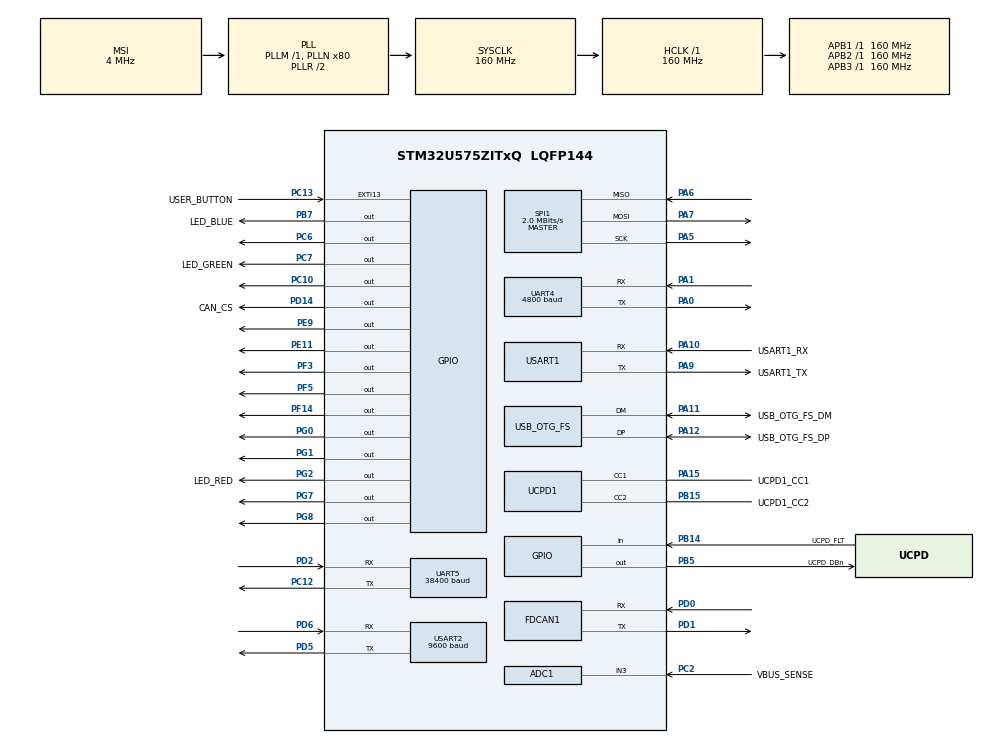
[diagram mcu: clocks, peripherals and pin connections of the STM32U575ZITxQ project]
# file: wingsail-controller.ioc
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ADC1.NbrOfConversion=1
ADC1.Resolution=ADC_RESOLUTION_14B
ADC1.master=1
CORTEX_M33_NS.userName=CORTEX_M33
FDCAN1.AutoRetransmission=ENABLE
FDCAN1.CalculateBaudRateNominal=500000
FDCAN1.CalculateTimeBitNominal=2000
FDCAN1.CalculateTimeQuantumNominal=100.0
FDCAN1.ClockDivider=FDCAN_CLOCK_DIV4
FDCAN1.DataSyncJumpWidth=16
FDCAN1.DataTimeSeg1=23
FDCAN1.DataTimeSeg2=16
FDCAN1.ExtFiltersNbr=1
FDCAN1.FrameFormat=FDCAN_FRAME_FD_BRS
FDCAN1.Mode=FDCAN_MODE_NORMAL
FDCAN1.NominalPrescaler=4
FDCAN1.NominalSyncJumpWidth=3
FDCAN1.NominalTimeSeg1=16
FDCAN1.NominalTimeSeg2=3
FDCAN1.StdFiltersNbr=1
GPDMA1.DESTINC_GPDMACH13=DMA_DINC_INCREMENTED
GPDMA1.DESTINC_GPDMACH14=DMA_DINC_INCREMENTED
GPDMA1.DESTINC_GPDMACH15=DMA_DINC_INCREMENTED
GPDMA1.IPHANDLE_GPDMACH13-SIMPLEREQUEST_GPDMACH13=__NULL
GPDMA1.IPHANDLE_GPDMACH14-SIMPLEREQUEST_GPDMACH14=__NULL
GPDMA1.IPHANDLE_GPDMACH15-SIMPLEREQUEST_GPDMACH15=__NULL
GPDMA1.RECAP_GPDMACH14=GPDMA1_REQUEST_UART5_RX
GPDMA1.RECAP_GPDMACH15=GPDMA1_REQUEST_USART2_RX
GPDMA1.REQUEST_GPDMACH13=GPDMA1_REQUEST_UART4_RX
GPDMA1.REQUEST_GPDMACH14=GPDMA1_REQUEST_UART5_RX
GPDMA1.REQUEST_GPDMACH15=GPDMA1_REQUEST_USART2_RX
Mcu.Family=STM32U5
Mcu.Name=STM32U575ZITxQ
Mcu.Package=LQFP144
NVIC.FDCAN1_IT0_IRQn=true\:0\:0\:false\:false\:true\:true\:true\:true
NVIC.GPDMA1_Channel13_IRQn=true\:0\:0\:false\:false\:true\:false\:true\:true
NVIC.GPDMA1_Channel14_IRQn=true\:0\:0\:false\:false\:true\:false\:true\:true
NVIC.GPDMA1_Channel15_IRQn=true\:0\:0\:false\:false\:true\:false\:true\:true
NVIC.OTG_FS_IRQn=true\:0\:0\:false\:false\:true\:true\:true\:true
NVIC.PriorityGroup=NVIC_PRIORITYGROUP_3
NVIC.TIM7_IRQn=true\:0\:0\:false\:false\:true\:true\:true\:true
NVIC.UART4_IRQn=true\:0\:0\:false\:false\:true\:true\:true\:true
NVIC.UART5_IRQn=true\:0\:0\:false\:false\:true\:true\:true\:true
NVIC.USART2_IRQn=true\:0\:0\:false\:false\:true\:true\:true\:true
PA0.Mode=Asynchronous
PA0.Signal=UART4_TX
PA1.Mode=Asynchronous
PA1.Signal=UART4_RX
PA10.GPIO_Label=USART1_RX
PA10.GPIO_PuPd=GPIO_PULLDOWN
PA10.GPIO_Speed=GPIO_SPEED_FREQ_VERY_HIGH
PA10.Mode=Asynchronous
PA10.Signal=USART1_RX
PA11.GPIO_Label=USB_OTG_FS_DM
PA11.GPIO_Speed=GPIO_SPEED_FREQ_VERY_HIGH
PA11.Mode=Device_Only
PA11.Signal=USB_OTG_FS_DM
PA12.GPIO_Label=USB_OTG_FS_DP
PA12.GPIO_Speed=GPIO_SPEED_FREQ_VERY_HIGH
PA12.Mode=Device_Only
PA12.Signal=USB_OTG_FS_DP
PA13\ (JTMS/SWDIO).Mode=Trace_Asynchronous_SW
PA13\ (JTMS/SWDIO).Signal=DEBUG_JTMS-SWDIO
PA14\ (JTCK/SWCLK).Mode=Trace_Asynchronous_SW
PA14\ (JTCK/SWCLK).Signal=DEBUG_JTCK-SWCLK
PA15\ (JTDI).GPIO_Label=UCPD1_CC1
PA15\ (JTDI).Mode=Sink_AllSignals
PA15\ (JTDI).Signal=UCPD1_CC1
PA5.Mode=Full_Duplex_Master
PA5.Signal=SPI1_SCK
PA6.Mode=Full_Duplex_Master
PA6.Signal=SPI1_MISO
PA7.Mode=Full_Duplex_Master
PA7.Signal=SPI1_MOSI
PA9.GPIO_Label=USART1_TX
PA9.GPIO_PuPd=GPIO_PULLDOWN
PA9.GPIO_Speed=GPIO_SPEED_FREQ_VERY_HIGH
PA9.Mode=Asynchronous
PA9.Signal=USART1_TX
PB14.GPIO_Label=UCPD_FLT
PB14.Signal=GPIO_Input
PB15.GPIO_Label=UCPD1_CC2
PB15.Mode=Sink_AllSignals
PB15.Signal=UCPD1_CC2
PB3\ (JTDO/TRACESWO).Mode=Trace_Asynchronous_SW
PB3\ (JTDO/TRACESWO).Signal=DEBUG_JTDO-SWO
PB5.GPIO_Label=UCPD_DBn
PB5.Signal=GPIO_Output
PB7.GPIO_Label=LED_BLUE
PB7.GPIO_ModeDefaultOutputPP=GPIO_MODE_OUTPUT_PP
PB7.GPIO_PuPd=GPIO_PULLUP
PB7.GPIO_Speed=GPIO_SPEED_FREQ_HIGH
PB7.Signal=GPIO_Output
PC10.Signal=GPIO_Output
PC12.Mode=Asynchronous
PC12.Signal=UART5_TX
PC13.GPIO_Label=USER_BUTTON
PC13.GPIO_ModeDefaultEXTI=GPIO_MODE_IT_FALLING
PC13.Signal=GPXTI13
PC14-OSC32_IN\ (PC14).Mode=LSE-External-Oscillator
PC14-OSC32_IN\ (PC14).Signal=RCC_OSC32_IN
PC15-OSC32_OUT\ (PC15).Mode=LSE-External-Oscillator
PC15-OSC32_OUT\ (PC15).Signal=RCC_OSC32_OUT
PC2.GPIO_Label=VBUS_SENSE
PC2.Mode=IN3-Single-Ended
PC2.Signal=ADC1_IN3
PC6.Signal=GPIO_Output
PC7.GPIO_Label=LED_GREEN
PC7.GPIO_PuPd=GPIO_PULLUP
PC7.GPIO_Speed=GPIO_SPEED_FREQ_HIGH
PC7.Signal=GPIO_Output
PD0.Mode=FDCAN_Activate
PD0.Signal=FDCAN1_RX
PD1.Mode=FDCAN_Activate
PD1.Signal=FDCAN1_TX
PD14.GPIO_Label=CAN_CS
PD14.Signal=GPIO_Output
PD2.Mode=Asynchronous
PD2.Signal=UART5_RX
PD5.Mode=Asynchronous
PD5.Signal=USART2_TX
PD6.Mode=Asynchronous
PD6.Signal=USART2_RX
PE11.Signal=GPIO_Output
PE9.Signal=GPIO_Output
PF14.Signal=GPIO_Output
PF3.Signal=GPIO_Output
PF5.Signal=GPIO_Output
PG0.Signal=GPIO_Output
PG1.Signal=GPIO_Output
PG2.GPIO_Label=LED_RED
PG2.GPIO_ModeDefaultOutputPP=GPIO_MODE_OUTPUT_PP
PG2.GPIO_PuPd=GPIO_PULLUP
PG2.GPIO_Speed=GPIO_SPEED_FREQ_HIGH
PG2.Signal=GPIO_Output
PG7.Signal=GPIO_Output
PG8.Signal=GPIO_Output
PWR.PowerMode=PWR_SMPS_SUPPLY
ProjectManager.HeapSize=0x200
ProjectManager.StackSize=0x400
ProjectManager.TargetToolchain=STM32CubeIDE
RCC.ADCFreq_Value=16000000
RCC.AHBFreq_Value=160000000
RCC.APB1Freq_Value=160000000
RCC.APB1TimFreq_Value=160000000
RCC.APB2Freq_Value=160000000
RCC.APB2TimFreq_Value=160000000
RCC.APB3Freq_Value=160000000
RCC.CortexFreq_Value=160000000
RCC.DACCLockSelectionVirtual=RCC_DAC1CLKSOURCE_LSI
RCC.EPOD_VALUE=4000000
RCC.HCLKFreq_Value=160000000
RCC.HSE_VALUE=16000000
RCC.HSI48_VALUE=48000000
RCC.HSI_VALUE=16000000
RCC.LPUART1CLockSelectionVirtual=RCC_LPUART1CLKSOURCE_HSI
RCC.LSIDIV_VALUE=32000
RCC.MSI_VALUE=4000000
RCC.PLLN=80
RCC.SPI1CLockSelection=RCC_SPI1CLKSOURCE_MSIK
RCC.SYSCLKFreq_VALUE=160000000
RCC.SYSCLKSource=RCC_SYSCLKSOURCE_PLLCLK
RCC.USBFreq_Value=48000000
RCC.VCOOutputFreq_Value=320000000
SPI1.CalculateBaudRate=2.0 MBits/s
SPI1.DataSize=SPI_DATASIZE_8BIT
SPI1.Direction=SPI_DIRECTION_2LINES
SPI1.Mode=SPI_MODE_MASTER
SPI1.VirtualType=VM_MASTER
TIM7.AutoReloadPreload=TIM_AUTORELOAD_PRELOAD_ENABLE
TIM7.PeriodNoDither=49999
TIM7.Prescaler=31999
UART4.BaudRate=4800
UART5.BaudRate=38400
UART5.SwapParam=UART_ADVFEATURE_SWAP_DISABLE
UART5.VirtualMode-Asynchronous=VM_ASYNC
USART1.VirtualMode-Asynchronous=VM_ASYNC
USART2.BaudRate=9600
USART2.SwapParam=ADVFEATURE_SWAP_DISABLE
USART2.VirtualMode-Asynchronous=VM_ASYNC
USB_OTG_FS.VirtualMode=Device_Only
VP_GPDMA1_VS_GPDMACH13.Mode=SIMPLEREQUEST_GPDMACH13
VP_GPDMA1_VS_GPDMACH14.Mode=SIMPLEREQUEST_GPDMACH14
VP_GPDMA1_VS_GPDMACH15.Mode=SIMPLEREQUEST_GPDMACH15
VP_ICACHE_VS_ENABLE_ICACHE_MEMORY.Mode=Memoryregions
VP_ICACHE_VS_ICACHE.Mode=DirectMappedCache
VP_LPBAMQUEUE_VS_QUEUE.Mode=QUEUEMODE
VP_LPBAM_VS_SIG1.Mode=SmartRun
VP_LPBAM_VS_SIG4.Mode=LPDMA1
VP_MEMORYMAP_VS_MEMORYMAP.Mode=CurAppReg
VP_PWR_VS_DBSignals.Mode=DisableDeadBatterySignals
VP_PWR_VS_LPOM.Mode=PowerOptimisation
VP_PWR_VS_SECSignals.Mode=Security/Privilege
VP_PWR_Vdda.Mode=isolationVdda
VP_TIM7_VS_ClockSourceINT.Mode=Enable_Timer
board=NUCLEO-U575ZI-Q

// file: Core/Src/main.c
/* USER CODE BEGIN Header */
/**
  ******************************************************************************
  * @file           : main.c
  * @brief          : Main program body
  ******************************************************************************
  * @attention
  *
  * Copyright (c) 2025 STMicroelectronics.
  * All rights reserved.
  *
  * This software is licensed under terms that can be found in the LICENSE file
  * in the root directory of this software component.
  * If no LICENSE file comes with this software, it is provided AS-IS.
  *
  ******************************************************************************
  */
/* USER CODE END Header */
#include "main.h"

/* USER CODE BEGIN Includes */
#include <stdio.h>
#include <string.h>
//#include "BRITER.h"
//#include "WINDSENSOR.h"
#include "AIS.h"
#include "GPS.h"
#include "BRITER.h"
#include "NMEA0183_scheduler.h"
#include "stm32u5xx.h"
#include "can.h"
#include "CANSPI.h"
#include "CANSERVO.h"
#include "stm32u5xx_hal.h"
#include "stm32u5xx_hal_uart.h"
/* USER CODE END Includes */

/* USER CODE BEGIN PD */
#define SERVO_LIMIT 80
/* USER CODE END PD */

ADC_HandleTypeDef hadc1;

FDCAN_HandleTypeDef hfdcan1;

SPI_HandleTypeDef hspi1;

TIM_HandleTypeDef htim7;

UART_HandleTypeDef huart4;
UART_HandleTypeDef huart5;
UART_HandleTypeDef huart1;
UART_HandleTypeDef huart2;
DMA_HandleTypeDef handle_GPDMA1_Channel13;
DMA_HandleTypeDef handle_GPDMA1_Channel14;
DMA_HandleTypeDef handle_GPDMA1_Channel15;

PCD_HandleTypeDef hpcd_USB_OTG_FS;

/* USER CODE BEGIN PV */
static AIS_PARSER *ais_parser;
static AIS_CAN_BATCH ais_batch;
static GPS *gps;
static WIND_SENSOR *wind_sensor;
static NMEA0183 *nmea_channel_ais_gps;
static NMEA0183 *nmea_channel_wind;
static NMEA0183_Scheduler nmea_scheduler_ais_gps;
static NMEA0183_Scheduler nmea_scheduler_wind;
static CAN_Frame canRxFrame;
static float angle = 0.0f;
uint8_t g_fw_enable_debug_prints = 0;
uint8_t g_fw_enable_can_prints = 0;
/* USER CODE END PV */

void SystemClock_Config(void);
static void SystemPower_Config(void);
static void MX_GPIO_Init(void);
static void MX_GPDMA1_Init(void);
static void MX_ADC1_Init(void);
static void MX_ICACHE_Init(void);
static void MX_UCPD1_Init(void);
static void MX_USART1_UART_Init(void);
static void MX_USART2_UART_Init(void);
static void MX_USB_OTG_FS_PCD_Init(void);
static void MX_FDCAN1_Init(void);
static void MX_SPI1_Init(void);
static void MX_UART5_Init(void);
static void MX_TIM7_Init(void);
static void MX_UART4_Init(void);
/* USER CODE BEGIN PFP */
#ifdef __GNUC__
/* With GCC/RAISONANCE, small printf (option LD Linker->Libraries->Small printf
   set to 'Yes') calls __io_putchar() */
#define PUTCHAR_PROTOTYPE int __io_putchar(int ch)
#else
#define PUTCHAR_PROTOTYPE int fputc(int ch, FILE *f)
#endif /* __GNUC__ */
/* USER CODE END PFP */

/* USER CODE BEGIN 0 */
BRITER * encoderObject;

static void debug_log_wind_sentence(const NMEA0183Raw *message) {
  size_t display_len;

  if ((message == NULL) || (g_fw_enable_debug_prints == 0U)) {
    return;
  }

  display_len = message->scentenceLength;
  while ((display_len > 0U) &&
         ((message->scentenceData[display_len - 1U] == '\r') ||
          (message->scentenceData[display_len - 1U] == '\n') ||
          (message->scentenceData[display_len - 1U] == '\0'))) {
    display_len--;
  }

  printf("[WIND][RAW] len=%u data=\"%.*s\"\r\n", message->scentenceLength,
         (int)display_len, message->scentenceData);
}

static void debug_poll_wind_channel(void) {
  NMEA0183Raw *message;

  if (nmea_channel_wind == NULL) {
    return;
  }

  message = NMEA0183__getTopBufferItem(nmea_channel_wind);
  if (message != NULL) {
    debug_log_wind_sentence(message);
  }
}
/* USER CODE END 0 */

int main(void)
{

  /* MCU Configuration--------------------------------------------------------*/

  /* Reset of all peripherals, Initializes the Flash interface and the Systick. */
  HAL_Init();

  /* Configure the System Power */
  SystemPower_Config();

  /* Configure the system clock */
  SystemClock_Config();

  /* Initialize all configured peripherals */
  MX_GPIO_Init();
  MX_GPDMA1_Init();
  MX_ADC1_Init();
  MX_ICACHE_Init();
  MX_UCPD1_Init();
  MX_USART1_UART_Init();
  MX_USART2_UART_Init();
  MX_USB_OTG_FS_PCD_Init();
  MX_FDCAN1_Init();
  MX_SPI1_Init();
  MX_UART5_Init();
  MX_TIM7_Init();
  MX_UART4_Init();
  /* USER CODE BEGIN 2 */
  CANSPI_Initialize();
  CAN_Init(&hfdcan1, 0x132);

  // Power cycle all attached sensors
  HAL_GPIO_WritePin(LIGHT_GATE_GPIO_Port, LIGHT_GATE_Pin, GPIO_PIN_RESET);
    HAL_GPIO_WritePin(WIND_GATE_GPIO_Port, WIND_GATE_Pin, GPIO_PIN_RESET);
    HAL_GPIO_WritePin(SERVO_GATE_GPIO_Port, SERVO_GATE_Pin, GPIO_PIN_RESET);
    HAL_GPIO_WritePin(SOL_GATE_GPIO_Port, SOL_GATE_Pin, GPIO_PIN_RESET);
    HAL_GPIO_WritePin(ENC_GATE_GPIO_Port, ENC_GATE_Pin, GPIO_PIN_RESET);
    HAL_GPIO_WritePin(AIS_GATE_GPIO_Port, AIS_GATE_Pin, GPIO_PIN_RESET);
    HAL_Delay(10);
    HAL_GPIO_WritePin(LIGHT_GATE_GPIO_Port, LIGHT_GATE_Pin, GPIO_PIN_SET);
    HAL_GPIO_WritePin(WIND_GATE_GPIO_Port, WIND_GATE_Pin, GPIO_PIN_SET);
    HAL_GPIO_WritePin(SERVO_GATE_GPIO_Port, SERVO_GATE_Pin, GPIO_PIN_SET);
    HAL_GPIO_WritePin(SOL_GATE_GPIO_Port, SOL_GATE_Pin, GPIO_PIN_SET);
    HAL_GPIO_WritePin(ENC_GATE_GPIO_Port, ENC_GATE_Pin, GPIO_PIN_SET);
    HAL_GPIO_WritePin(AIS_GATE_GPIO_Port, AIS_GATE_Pin, GPIO_PIN_SET);

    nmea_channel_ais_gps = NMEA0183__create(&huart5);
    nmea_channel_wind = NMEA0183__create(&huart4);

    ais_parser = AIS__create();
    memset(&ais_batch, 0, sizeof(ais_batch));

    gps = GPS__create(nmea_channel_ais_gps);
    wind_sensor = WIND_SENSOR__create(nmea_channel_wind);

    memset(&nmea_scheduler_ais_gps, 0, sizeof(nmea_scheduler_ais_gps));
    nmea_scheduler_ais_gps.channel = nmea_channel_ais_gps;
    nmea_scheduler_ais_gps.ais_parser = ais_parser;
    nmea_scheduler_ais_gps.ais_batch = &ais_batch;
    nmea_scheduler_ais_gps.gps = gps;
    nmea_scheduler_ais_gps.hfdcan1 = &hfdcan1;

    memset(&nmea_scheduler_wind, 0, sizeof(nmea_scheduler_wind));
    nmea_scheduler_wind.channel = nmea_channel_wind;
    nmea_scheduler_wind.wind_sensor = wind_sensor;
    nmea_scheduler_wind.hfdcan1 = &hfdcan1;

    encoderObject = BRITER__create(&huart2, 50);
  /* USER CODE END 2 */

  /* Infinite loop */
  /* USER CODE BEGIN WHILE */
  while (1)
  {
    HAL_Delay(10);
    uint32_t now_ms = HAL_GetTick();

    // NMEA0183 parsing
    debug_poll_wind_channel();
    if (NMEA0183__scheduler_step(&nmea_scheduler_ais_gps, now_ms)) {
      HAL_GPIO_TogglePin(LED_GREEN_GPIO_Port, LED_GREEN_Pin);
    }
    if (NMEA0183__scheduler_step(&nmea_scheduler_wind, now_ms)) {
      HAL_GPIO_TogglePin(LED_BLUE_GPIO_Port, LED_BLUE_Pin);
    }

   // CANSERVO
    while (CAN_Receive(&canRxFrame) == HAL_OK){
      uint32_t id = canRxFrame.RxData1_Identifier;
      if (id == 0x002 && canRxFrame.RxData1_BufferLength == 4){
        uint32_t value = (((uint32_t)canRxFrame.RxData1[3]) << 24) |
                         (((uint32_t)canRxFrame.RxData1[2]) << 16) |
                         (((uint32_t)canRxFrame.RxData1[1]) << 8) |
                         ((uint32_t)canRxFrame.RxData1[0]);
        angle = ((float) value) / 1000.0 - 90.0;
        angle *= 8.0;
      }
    }

    if (angle < -SERVO_LIMIT){
    	angle = -SERVO_LIMIT;
    } else if (angle > SERVO_LIMIT){
    	angle = SERVO_LIMIT;
    }

    set_servo_angle(angle);

    printf("Encode angle: %f\r\n", BRITER__floatAngle(encoderObject));

    /* USER CODE END WHILE */

  }
}

void SystemClock_Config(void)
{
  RCC_OscInitTypeDef RCC_OscInitStruct = {0};
  RCC_ClkInitTypeDef RCC_ClkInitStruct = {0};

  /** Configure the main internal regulator output voltage
  */
  if (HAL_PWREx_ControlVoltageScaling(PWR_REGULATOR_VOLTAGE_SCALE1) != HAL_OK)
  {
    Error_Handler();
  }

  /** Initializes the CPU, AHB and APB buses clocks
  */
  RCC_OscInitStruct.OscillatorType = RCC_OSCILLATORTYPE_HSI48|RCC_OSCILLATORTYPE_HSI
                              |RCC_OSCILLATORTYPE_MSI|RCC_OSCILLATORTYPE_MSIK;
  RCC_OscInitStruct.HSIState = RCC_HSI_ON;
  RCC_OscInitStruct.HSI48State = RCC_HSI48_ON;
  RCC_OscInitStruct.HSICalibrationValue = RCC_HSICALIBRATION_DEFAULT;
  RCC_OscInitStruct.MSIState = RCC_MSI_ON;
  RCC_OscInitStruct.MSICalibrationValue = RCC_MSICALIBRATION_DEFAULT;
  RCC_OscInitStruct.MSIClockRange = RCC_MSIRANGE_4;
  RCC_OscInitStruct.MSIKClockRange = RCC_MSIKRANGE_4;
  RCC_OscInitStruct.MSIKState = RCC_MSIK_ON;
  RCC_OscInitStruct.PLL.PLLState = RCC_PLL_ON;
  RCC_OscInitStruct.PLL.PLLSource = RCC_PLLSOURCE_MSI;
  RCC_OscInitStruct.PLL.PLLMBOOST = RCC_PLLMBOOST_DIV1;
  RCC_OscInitStruct.PLL.PLLM = 1;
  RCC_OscInitStruct.PLL.PLLN = 80;
  RCC_OscInitStruct.PLL.PLLP = 2;
  RCC_OscInitStruct.PLL.PLLQ = 2;
  RCC_OscInitStruct.PLL.PLLR = 2;
  RCC_OscInitStruct.PLL.PLLRGE = RCC_PLLVCIRANGE_0;
  RCC_OscInitStruct.PLL.PLLFRACN = 0;
  if (HAL_RCC_OscConfig(&RCC_OscInitStruct) != HAL_OK)
  {
    Error_Handler();
  }

  /** Initializes the CPU, AHB and APB buses clocks
  */
  RCC_ClkInitStruct.ClockType = RCC_CLOCKTYPE_HCLK|RCC_CLOCKTYPE_SYSCLK
                              |RCC_CLOCKTYPE_PCLK1|RCC_CLOCKTYPE_PCLK2
                              |RCC_CLOCKTYPE_PCLK3;
  RCC_ClkInitStruct.SYSCLKSource = RCC_SYSCLKSOURCE_PLLCLK;
  RCC_ClkInitStruct.AHBCLKDivider = RCC_SYSCLK_DIV1;
  RCC_ClkInitStruct.APB1CLKDivider = RCC_HCLK_DIV1;
  RCC_ClkInitStruct.APB2CLKDivider = RCC_HCLK_DIV1;
  RCC_ClkInitStruct.APB3CLKDivider = RCC_HCLK_DIV1;

  if (HAL_RCC_ClockConfig(&RCC_ClkInitStruct, FLASH_LATENCY_4) != HAL_OK)
  {
    Error_Handler();
  }
}

/**
  * @brief Power Configuration
  * @retval None
  */
static void SystemPower_Config(void)
{
  HAL_PWREx_EnableVddIO2();

  /*
   * Switch to SMPS regulator instead of LDO
   */
  if (HAL_PWREx_ConfigSupply(PWR_SMPS_SUPPLY) != HAL_OK)
  {
    Error_Handler();
  }
}

static void MX_ADC1_Init(void)
{

  /** Common config
  */
  hadc1.Instance = ADC1;
  hadc1.Init.ClockPrescaler = ADC_CLOCK_ASYNC_DIV1;
  hadc1.Init.Resolution = ADC_RESOLUTION_14B;
  hadc1.Init.GainCompensation = 0;
  hadc1.Init.ScanConvMode = ADC_SCAN_DISABLE;
  hadc1.Init.EOCSelection = ADC_EOC_SINGLE_CONV;
  hadc1.Init.LowPowerAutoWait = DISABLE;
  hadc1.Init.ContinuousConvMode = DISABLE;
  hadc1.Init.NbrOfConversion = 1;
  hadc1.Init.DiscontinuousConvMode = DISABLE;
  hadc1.Init.DMAContinuousRequests = DISABLE;
  hadc1.Init.TriggerFrequencyMode = ADC_TRIGGER_FREQ_HIGH;
  hadc1.Init.Overrun = ADC_OVR_DATA_PRESERVED;
  hadc1.Init.LeftBitShift = ADC_LEFTBITSHIFT_NONE;
  hadc1.Init.ConversionDataManagement = ADC_CONVERSIONDATA_DR;
  hadc1.Init.OversamplingMode = DISABLE;
  if (HAL_ADC_Init(&hadc1) != HAL_OK)
  {
    Error_Handler();
  }

}

static void MX_FDCAN1_Init(void)
{

  hfdcan1.Instance = FDCAN1;
  hfdcan1.Init.ClockDivider = FDCAN_CLOCK_DIV4;
  hfdcan1.Init.FrameFormat = FDCAN_FRAME_FD_BRS;
  hfdcan1.Init.Mode = FDCAN_MODE_NORMAL;
  hfdcan1.Init.AutoRetransmission = ENABLE;
  hfdcan1.Init.TransmitPause = DISABLE;
  hfdcan1.Init.ProtocolException = DISABLE;
  hfdcan1.Init.NominalPrescaler = 4;
  hfdcan1.Init.NominalSyncJumpWidth = 3;
  hfdcan1.Init.NominalTimeSeg1 = 16;
  hfdcan1.Init.NominalTimeSeg2 = 3;
  hfdcan1.Init.DataPrescaler = 1;
  hfdcan1.Init.DataSyncJumpWidth = 16;
  hfdcan1.Init.DataTimeSeg1 = 23;
  hfdcan1.Init.DataTimeSeg2 = 16;
  hfdcan1.Init.StdFiltersNbr = 1;
  hfdcan1.Init.ExtFiltersNbr = 1;
  hfdcan1.Init.TxFifoQueueMode = FDCAN_TX_FIFO_OPERATION;
  if (HAL_FDCAN_Init(&hfdcan1) != HAL_OK)
  {
    Error_Handler();
  }

}

static void MX_GPDMA1_Init(void)
{

  /* Peripheral clock enable */
  __HAL_RCC_GPDMA1_CLK_ENABLE();

  /* GPDMA1 interrupt Init */
    HAL_NVIC_SetPriority(GPDMA1_Channel13_IRQn, 0, 0);
    HAL_NVIC_EnableIRQ(GPDMA1_Channel13_IRQn);
    HAL_NVIC_SetPriority(GPDMA1_Channel14_IRQn, 0, 0);
    HAL_NVIC_EnableIRQ(GPDMA1_Channel14_IRQn);
    HAL_NVIC_SetPriority(GPDMA1_Channel15_IRQn, 0, 0);
    HAL_NVIC_EnableIRQ(GPDMA1_Channel15_IRQn);

}

static void MX_ICACHE_Init(void)
{

  /** Enable instruction cache in 1-way (direct mapped cache)
  */
  if (HAL_ICACHE_ConfigAssociativityMode(ICACHE_1WAY) != HAL_OK)
  {
    Error_Handler();
  }
  if (HAL_ICACHE_Enable() != HAL_OK)
  {
    Error_Handler();
  }

}

static void MX_SPI1_Init(void)
{

  SPI_AutonomousModeConfTypeDef HAL_SPI_AutonomousMode_Cfg_Struct = {0};

  /* SPI1 parameter configuration*/
  hspi1.Instance = SPI1;
  hspi1.Init.Mode = SPI_MODE_MASTER;
  hspi1.Init.Direction = SPI_DIRECTION_2LINES;
  hspi1.Init.DataSize = SPI_DATASIZE_8BIT;
  hspi1.Init.CLKPolarity = SPI_POLARITY_LOW;
  hspi1.Init.CLKPhase = SPI_PHASE_1EDGE;
  hspi1.Init.NSS = SPI_NSS_SOFT;
  hspi1.Init.BaudRatePrescaler = SPI_BAUDRATEPRESCALER_2;
  hspi1.Init.FirstBit = SPI_FIRSTBIT_MSB;
  hspi1.Init.TIMode = SPI_TIMODE_DISABLE;
  hspi1.Init.CRCCalculation = SPI_CRCCALCULATION_DISABLE;
  hspi1.Init.CRCPolynomial = 0x7;
  hspi1.Init.NSSPMode = SPI_NSS_PULSE_ENABLE;
  hspi1.Init.NSSPolarity = SPI_NSS_POLARITY_LOW;
  hspi1.Init.FifoThreshold = SPI_FIFO_THRESHOLD_01DATA;
  hspi1.Init.MasterSSIdleness = SPI_MASTER_SS_IDLENESS_00CYCLE;
  hspi1.Init.MasterInterDataIdleness = SPI_MASTER_INTERDATA_IDLENESS_00CYCLE;
  hspi1.Init.MasterReceiverAutoSusp = SPI_MASTER_RX_AUTOSUSP_DISABLE;
  hspi1.Init.MasterKeepIOState = SPI_MASTER_KEEP_IO_STATE_DISABLE;
  hspi1.Init.IOSwap = SPI_IO_SWAP_DISABLE;
  hspi1.Init.ReadyMasterManagement = SPI_RDY_MASTER_MANAGEMENT_INTERNALLY;
  hspi1.Init.ReadyPolarity = SPI_RDY_POLARITY_HIGH;
  if (HAL_SPI_Init(&hspi1) != HAL_OK)
  {
    Error_Handler();
  }
  HAL_SPI_AutonomousMode_Cfg_Struct.TriggerState = SPI_AUTO_MODE_DISABLE;
  HAL_SPI_AutonomousMode_Cfg_Struct.TriggerSelection = SPI_GRP1_GPDMA_CH0_TCF_TRG;
  HAL_SPI_AutonomousMode_Cfg_Struct.TriggerPolarity = SPI_TRIG_POLARITY_RISING;
  if (HAL_SPIEx_SetConfigAutonomousMode(&hspi1, &HAL_SPI_AutonomousMode_Cfg_Struct) != HAL_OK)
  {
    Error_Handler();
  }

}

static void MX_TIM7_Init(void)
{

  TIM_MasterConfigTypeDef sMasterConfig = {0};

  htim7.Instance = TIM7;
  htim7.Init.Prescaler = 31999;
  htim7.Init.CounterMode = TIM_COUNTERMODE_UP;
  htim7.Init.Period = 49999;
  htim7.Init.AutoReloadPreload = TIM_AUTORELOAD_PRELOAD_ENABLE;
  if (HAL_TIM_Base_Init(&htim7) != HAL_OK)
  {
    Error_Handler();
  }
  sMasterConfig.MasterOutputTrigger = TIM_TRGO_RESET;
  sMasterConfig.MasterSlaveMode = TIM_MASTERSLAVEMODE_DISABLE;
  if (HAL_TIMEx_MasterConfigSynchronization(&htim7, &sMasterConfig) != HAL_OK)
  {
    Error_Handler();
  }

}

static void MX_UART4_Init(void)
{

  huart4.Instance = UART4;
  huart4.Init.BaudRate = 4800;
  huart4.Init.WordLength = UART_WORDLENGTH_8B;
  huart4.Init.StopBits = UART_STOPBITS_1;
  huart4.Init.Parity = UART_PARITY_NONE;
  huart4.Init.Mode = UART_MODE_TX_RX;
  huart4.Init.HwFlowCtl = UART_HWCONTROL_NONE;
  huart4.Init.OverSampling = UART_OVERSAMPLING_16;
  huart4.Init.OneBitSampling = UART_ONE_BIT_SAMPLE_DISABLE;
  huart4.Init.ClockPrescaler = UART_PRESCALER_DIV1;
  huart4.AdvancedInit.AdvFeatureInit = UART_ADVFEATURE_NO_INIT;
  if (HAL_UART_Init(&huart4) != HAL_OK)
  {
    Error_Handler();
  }
  if (HAL_UARTEx_SetTxFifoThreshold(&huart4, UART_TXFIFO_THRESHOLD_1_8) != HAL_OK)
  {
    Error_Handler();
  }
  if (HAL_UARTEx_SetRxFifoThreshold(&huart4, UART_RXFIFO_THRESHOLD_1_8) != HAL_OK)
  {
    Error_Handler();
  }
  if (HAL_UARTEx_DisableFifoMode(&huart4) != HAL_OK)
  {
    Error_Handler();
  }

}

static void MX_UART5_Init(void)
{

  huart5.Instance = UART5;
  huart5.Init.BaudRate = 38400;
  huart5.Init.WordLength = UART_WORDLENGTH_8B;
  huart5.Init.StopBits = UART_STOPBITS_1;
  huart5.Init.Parity = UART_PARITY_NONE;
  huart5.Init.Mode = UART_MODE_TX_RX;
  huart5.Init.HwFlowCtl = UART_HWCONTROL_NONE;
  huart5.Init.OverSampling = UART_OVERSAMPLING_16;
  huart5.Init.OneBitSampling = UART_ONE_BIT_SAMPLE_DISABLE;
  huart5.Init.ClockPrescaler = UART_PRESCALER_DIV1;
  huart5.AdvancedInit.AdvFeatureInit = UART_ADVFEATURE_NO_INIT;
  if (HAL_UART_Init(&huart5) != HAL_OK)
  {
    Error_Handler();
  }
  if (HAL_UARTEx_SetTxFifoThreshold(&huart5, UART_TXFIFO_THRESHOLD_1_8) != HAL_OK)
  {
    Error_Handler();
  }
  if (HAL_UARTEx_SetRxFifoThreshold(&huart5, UART_RXFIFO_THRESHOLD_1_8) != HAL_OK)
  {
    Error_Handler();
  }
  if (HAL_UARTEx_DisableFifoMode(&huart5) != HAL_OK)
  {
    Error_Handler();
  }

}

static void MX_USART1_UART_Init(void)
{

  huart1.Instance = USART1;
  huart1.Init.BaudRate = 115200;
  huart1.Init.WordLength = UART_WORDLENGTH_8B;
  huart1.Init.StopBits = UART_STOPBITS_1;
  huart1.Init.Parity = UART_PARITY_NONE;
  huart1.Init.Mode = UART_MODE_TX_RX;
  huart1.Init.HwFlowCtl = UART_HWCONTROL_NONE;
  huart1.Init.OverSampling = UART_OVERSAMPLING_16;
  huart1.Init.OneBitSampling = UART_ONE_BIT_SAMPLE_DISABLE;
  huart1.Init.ClockPrescaler = UART_PRESCALER_DIV1;
  huart1.AdvancedInit.AdvFeatureInit = UART_ADVFEATURE_NO_INIT;
  if (HAL_UART_Init(&huart1) != HAL_OK)
  {
    Error_Handler();
  }
  if (HAL_UARTEx_SetTxFifoThreshold(&huart1, UART_TXFIFO_THRESHOLD_1_8) != HAL_OK)
  {
    Error_Handler();
  }
  if (HAL_UARTEx_SetRxFifoThreshold(&huart1, UART_RXFIFO_THRESHOLD_1_8) != HAL_OK)
  {
    Error_Handler();
  }
  if (HAL_UARTEx_DisableFifoMode(&huart1) != HAL_OK)
  {
    Error_Handler();
  }

}

static void MX_USART2_UART_Init(void)
{

  huart2.Instance = USART2;
  huart2.Init.BaudRate = 9600;
  huart2.Init.WordLength = UART_WORDLENGTH_8B;
  huart2.Init.StopBits = UART_STOPBITS_1;
  huart2.Init.Parity = UART_PARITY_NONE;
  huart2.Init.Mode = UART_MODE_TX_RX;
  huart2.Init.HwFlowCtl = UART_HWCONTROL_NONE;
  huart2.Init.OverSampling = UART_OVERSAMPLING_16;
  huart2.Init.OneBitSampling = UART_ONE_BIT_SAMPLE_DISABLE;
  huart2.Init.ClockPrescaler = UART_PRESCALER_DIV1;
  huart2.AdvancedInit.AdvFeatureInit = UART_ADVFEATURE_NO_INIT;
  if (HAL_UART_Init(&huart2) != HAL_OK)
  {
    Error_Handler();
  }
  if (HAL_UARTEx_SetTxFifoThreshold(&huart2, UART_TXFIFO_THRESHOLD_1_8) != HAL_OK)
  {
    Error_Handler();
  }
  if (HAL_UARTEx_SetRxFifoThreshold(&huart2, UART_RXFIFO_THRESHOLD_1_8) != HAL_OK)
  {
    Error_Handler();
  }
  if (HAL_UARTEx_DisableFifoMode(&huart2) != HAL_OK)
  {
    Error_Handler();
  }

}

static void MX_UCPD1_Init(void)
{

  LL_GPIO_InitTypeDef GPIO_InitStruct = {0};

  /* Peripheral clock enable */
  LL_APB1_GRP2_EnableClock(LL_APB1_GRP2_PERIPH_UCPD1);

  LL_AHB2_GRP1_EnableClock(LL_AHB2_GRP1_PERIPH_GPIOB);
  LL_AHB2_GRP1_EnableClock(LL_AHB2_GRP1_PERIPH_GPIOA);
  /**UCPD1 GPIO Configuration
  PB15   ------> UCPD1_CC2
  PA15 (JTDI)   ------> UCPD1_CC1
  */
  GPIO_InitStruct.Pin = LL_GPIO_PIN_15;
  GPIO_InitStruct.Mode = LL_GPIO_MODE_ANALOG;
  GPIO_InitStruct.Pull = LL_GPIO_PULL_NO;
  LL_GPIO_Init(GPIOB, &GPIO_InitStruct);

  GPIO_InitStruct.Pin = LL_GPIO_PIN_15;
  GPIO_InitStruct.Mode = LL_GPIO_MODE_ANALOG;
  GPIO_InitStruct.Pull = LL_GPIO_PULL_NO;
  LL_GPIO_Init(GPIOA, &GPIO_InitStruct);

}

static void MX_USB_OTG_FS_PCD_Init(void)
{

  hpcd_USB_OTG_FS.Instance = USB_OTG_FS;
  hpcd_USB_OTG_FS.Init.dev_endpoints = 6;
  hpcd_USB_OTG_FS.Init.speed = PCD_SPEED_FULL;
  hpcd_USB_OTG_FS.Init.phy_itface = PCD_PHY_EMBEDDED;
  hpcd_USB_OTG_FS.Init.Sof_enable = DISABLE;
  hpcd_USB_OTG_FS.Init.low_power_enable = DISABLE;
  hpcd_USB_OTG_FS.Init.lpm_enable = DISABLE;
  hpcd_USB_OTG_FS.Init.battery_charging_enable = DISABLE;
  hpcd_USB_OTG_FS.Init.use_dedicated_ep1 = DISABLE;
  hpcd_USB_OTG_FS.Init.vbus_sensing_enable = DISABLE;
  hpcd_USB_OTG_FS.Init.dma_enable = DISABLE;
  if (HAL_PCD_Init(&hpcd_USB_OTG_FS) != HAL_OK)
  {
    Error_Handler();
  }

}

static void MX_GPIO_Init(void)
{
  GPIO_InitTypeDef GPIO_InitStruct = {0};

  /* GPIO Ports Clock Enable */
  __HAL_RCC_GPIOC_CLK_ENABLE();
  __HAL_RCC_GPIOF_CLK_ENABLE();
  __HAL_RCC_GPIOA_CLK_ENABLE();
  __HAL_RCC_GPIOG_CLK_ENABLE();
  __HAL_RCC_GPIOE_CLK_ENABLE();
  __HAL_RCC_GPIOB_CLK_ENABLE();
  __HAL_RCC_GPIOD_CLK_ENABLE();

  /*Configure GPIO pin Output Level */
  HAL_GPIO_WritePin(GPIOF, GPIO_PIN_3|GPIO_PIN_5|GPIO_PIN_14, GPIO_PIN_RESET);

  /*Configure GPIO pin Output Level */
  HAL_GPIO_WritePin(GPIOG, GPIO_PIN_0|GPIO_PIN_1|LED_RED_Pin|GPIO_PIN_7
                          |GPIO_PIN_8, GPIO_PIN_RESET);

  /*Configure GPIO pin Output Level */
  HAL_GPIO_WritePin(GPIOE, GPIO_PIN_9|GPIO_PIN_11, GPIO_PIN_RESET);

  /*Configure GPIO pin Output Level */
  HAL_GPIO_WritePin(CAN_CS_GPIO_Port, CAN_CS_Pin, GPIO_PIN_RESET);

  /*Configure GPIO pin Output Level */
  HAL_GPIO_WritePin(GPIOC, GPIO_PIN_6|LED_GREEN_Pin|GPIO_PIN_10, GPIO_PIN_RESET);

  /*Configure GPIO pin Output Level */
  HAL_GPIO_WritePin(GPIOB, UCPD_DBn_Pin|LED_BLUE_Pin, GPIO_PIN_RESET);

  /*Configure GPIO pin : USER_BUTTON_Pin */
  GPIO_InitStruct.Pin = USER_BUTTON_Pin;
  GPIO_InitStruct.Mode = GPIO_MODE_IT_FALLING;
  GPIO_InitStruct.Pull = GPIO_NOPULL;
  HAL_GPIO_Init(USER_BUTTON_GPIO_Port, &GPIO_InitStruct);

  /*Configure GPIO pins : PF3 PF5 PF14 */
  GPIO_InitStruct.Pin = GPIO_PIN_3|GPIO_PIN_5|GPIO_PIN_14;
  GPIO_InitStruct.Mode = GPIO_MODE_OUTPUT_PP;
  GPIO_InitStruct.Pull = GPIO_NOPULL;
  GPIO_InitStruct.Speed = GPIO_SPEED_FREQ_LOW;
  HAL_GPIO_Init(GPIOF, &GPIO_InitStruct);

  /*Configure GPIO pins : PG0 PG1 PG7 PG8 */
  GPIO_InitStruct.Pin = GPIO_PIN_0|GPIO_PIN_1|GPIO_PIN_7|GPIO_PIN_8;
  GPIO_InitStruct.Mode = GPIO_MODE_OUTPUT_PP;
  GPIO_InitStruct.Pull = GPIO_NOPULL;
  GPIO_InitStruct.Speed = GPIO_SPEED_FREQ_LOW;
  HAL_GPIO_Init(GPIOG, &GPIO_InitStruct);

  /*Configure GPIO pins : PE9 PE11 */
  GPIO_InitStruct.Pin = GPIO_PIN_9|GPIO_PIN_11;
  GPIO_InitStruct.Mode = GPIO_MODE_OUTPUT_PP;
  GPIO_InitStruct.Pull = GPIO_NOPULL;
  GPIO_InitStruct.Speed = GPIO_SPEED_FREQ_LOW;
  HAL_GPIO_Init(GPIOE, &GPIO_InitStruct);

  /*Configure GPIO pin : UCPD_FLT_Pin */
  GPIO_InitStruct.Pin = UCPD_FLT_Pin;
  GPIO_InitStruct.Mode = GPIO_MODE_INPUT;
  GPIO_InitStruct.Pull = GPIO_NOPULL;
  HAL_GPIO_Init(UCPD_FLT_GPIO_Port, &GPIO_InitStruct);

  /*Configure GPIO pin : CAN_CS_Pin */
  GPIO_InitStruct.Pin = CAN_CS_Pin;
  GPIO_InitStruct.Mode = GPIO_MODE_OUTPUT_PP;
  GPIO_InitStruct.Pull = GPIO_NOPULL;
  GPIO_InitStruct.Speed = GPIO_SPEED_FREQ_LOW;
  HAL_GPIO_Init(CAN_CS_GPIO_Port, &GPIO_InitStruct);

  /*Configure GPIO pin : LED_RED_Pin */
  GPIO_InitStruct.Pin = LED_RED_Pin;
  GPIO_InitStruct.Mode = GPIO_MODE_OUTPUT_PP;
  GPIO_InitStruct.Pull = GPIO_PULLUP;
  GPIO_InitStruct.Speed = GPIO_SPEED_FREQ_HIGH;
  HAL_GPIO_Init(LED_RED_GPIO_Port, &GPIO_InitStruct);

  /*Configure GPIO pins : PC6 PC10 */
  GPIO_InitStruct.Pin = GPIO_PIN_6|GPIO_PIN_10;
  GPIO_InitStruct.Mode = GPIO_MODE_OUTPUT_PP;
  GPIO_InitStruct.Pull = GPIO_NOPULL;
  GPIO_InitStruct.Speed = GPIO_SPEED_FREQ_LOW;
  HAL_GPIO_Init(GPIOC, &GPIO_InitStruct);

  /*Configure GPIO pin : LED_GREEN_Pin */
  GPIO_InitStruct.Pin = LED_GREEN_Pin;
  GPIO_InitStruct.Mode = GPIO_MODE_OUTPUT_PP;
  GPIO_InitStruct.Pull = GPIO_PULLUP;
  GPIO_InitStruct.Speed = GPIO_SPEED_FREQ_HIGH;
  HAL_GPIO_Init(LED_GREEN_GPIO_Port, &GPIO_InitStruct);

  /*Configure GPIO pin : UCPD_DBn_Pin */
  GPIO_InitStruct.Pin = UCPD_DBn_Pin;
  GPIO_InitStruct.Mode = GPIO_MODE_OUTPUT_PP;
  GPIO_InitStruct.Pull = GPIO_NOPULL;
  GPIO_InitStruct.Speed = GPIO_SPEED_FREQ_LOW;
  HAL_GPIO_Init(UCPD_DBn_GPIO_Port, &GPIO_InitStruct);

  /*Configure GPIO pin : LED_BLUE_Pin */
  GPIO_InitStruct.Pin = LED_BLUE_Pin;
  GPIO_InitStruct.Mode = GPIO_MODE_OUTPUT_PP;
  GPIO_InitStruct.Pull = GPIO_PULLUP;
  GPIO_InitStruct.Speed = GPIO_SPEED_FREQ_HIGH;
  HAL_GPIO_Init(LED_BLUE_GPIO_Port, &GPIO_InitStruct);

}

/* USER CODE BEGIN 4 */
PUTCHAR_PROTOTYPE
{
  /* Place your implementation of fputc here */
  /* e.g. write a character to the USART1 and Loop until the end of transmission */
  HAL_UART_Transmit(&huart1, (uint8_t *)&ch, 1, 0xFFFF);

  return ch;
}

void HAL_UART_ErrorCallback(UART_HandleTypeDef *huart)
{
  (void)huart;
}

void HAL_UARTEx_RxEventCallback(UART_HandleTypeDef *huart, uint16_t size) {
	BRITER__handleDMA(encoderObject, huart, size);
}
/* USER CODE END 4 */

void Error_Handler(void)
{
  __disable_irq();
  while (1)
  {
  }
}
